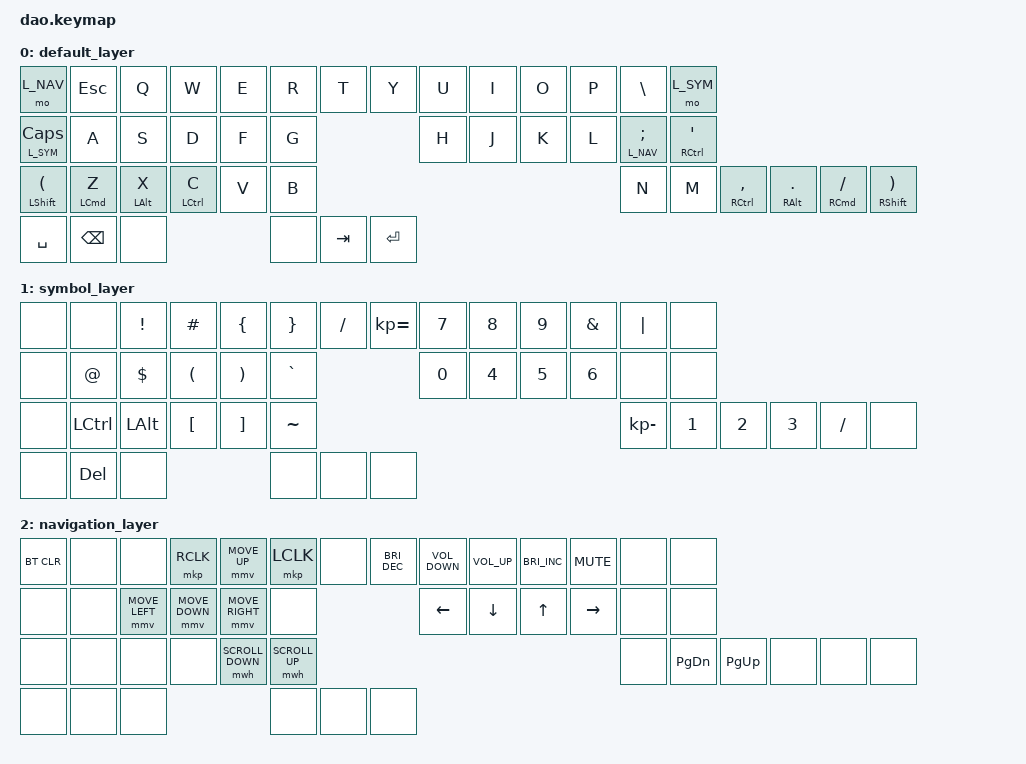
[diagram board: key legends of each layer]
#include <behaviors.dtsi>
#include <dt-bindings/zmk/keys.h>
#include <dt-bindings/zmk/bt.h>
#include <dt-bindings/zmk/mouse.h>

#define L_DEF 0
#define L_SYM 1
#define L_NAV 2

&lt { quick_tap_ms = <150>; };
&mt { quick_tap_ms = <150>; };
&mmv { time-to-max-speed-ms = <300>; };
&mwh { acceleration-exponent=<4>; };

/ {
    keymap {
        compatible = "zmk,keymap";
        default_layer {
            bindings = <
                &mo L_NAV  &kp ESC  &kp Q  &kp W  &kp E  &kp R  &kp T  &kp Y  /**/  &kp U  &kp I  &kp O  &kp P  &kp BSLH  &mo L_SYM
                &lt L_SYM CAPSLOCK  &kp A  &kp S  &kp D  &kp F  &kp G  &kp H  /**/  &kp J  &kp K  &kp L  &lt L_NAV SEMI  &mt RCTRL SQT
                &mt LSHIFT LPAR  &mt LCMD Z  &mt LALT X  &mt LCTRL C  &kp V  &kp B  &kp N  /**/  &kp M  &mt RCTRL COMMA  &mt RALT DOT  &mt RCMD FSLH  &mt RSHIFT RPAR
                &kp SPACE  &kp BACKSPACE  &none  /**/  &none &kp TAB  &kp ENTER
            >;
        };
        symbol_layer {
            bindings = <
                &none  &none  &kp EXCL  &kp HASH  &kp LBRC  &kp RBRC  &kp SLASH  /**/  &kp KP_EQUAL  &kp N7  &kp N8  &kp N9  &kp AMPERSAND  &kp PIPE  &none
                &none  &kp AT  &kp DOLLAR  &kp LPAR  &kp RPAR  &kp GRAVE  /**/  &kp N0  &kp N4  &kp N5  &kp N6  &none  &none
                &none  &kp LCTRL  &kp LALT  &kp LBKT  &kp RBKT  &kp TILDE  /**/  &kp KP_MINUS  &kp N1  &kp N2  &kp N3  &kp SLASH  &none
                &none  &kp DELETE  &none  /**/  &none  &none  &none
             >;
        };
        navigation_layer {
            bindings = <
                &bt BT_CLR &none  &none  &mkp RCLK  &mmv MOVE_UP  &mkp LCLK  &none  /**/  &kp C_BRIGHTNESS_DEC  &kp K_VOLUME_DOWN  &kp K_VOLUME_UP  &kp C_BRIGHTNESS_INC  &kp K_MUTE  &none  &none
                &none  &none  &mmv MOVE_LEFT  &mmv MOVE_DOWN  &mmv MOVE_RIGHT  &none  /**/  &kp LEFT  &kp DOWN  &kp UP  &kp RIGHT  &none  &none
                &none  &none  &none  &none  &mwh SCROLL_DOWN  &mwh SCROLL_UP  /**/  &none  &kp PAGE_DOWN  &kp PAGE_UP  &none  &none  &none
                &none  &none  &none  /**/  &none  &none  &none
             >;
        };
    };
};
